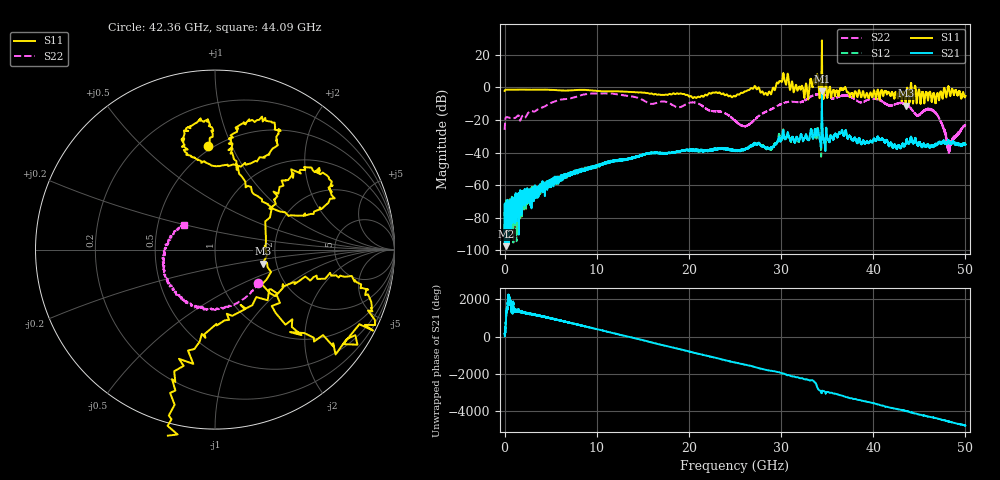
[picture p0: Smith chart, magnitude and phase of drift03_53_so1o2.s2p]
!Created with skrf (http://scikit-rf.org).
# Hz S RI R 50.0
!freq ReS11 ImS11 ReS21 ImS21 ReS12 ImS12 ReS22 ImS22
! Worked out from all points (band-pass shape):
!   10000 points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, 5.3 MHz to 50 GHz, reference 50 ohm
!   highest |S21| = -2.44 dB at 34.43 GHz (marker M1); lowest = -97.6 dB at 210.3 MHz (marker M2)
!   |S21| within 3 dB of the highest: 34.42765 GHz to 34.43443 GHz (6.781 MHz wide, 0.0197 % of centre)
!   lowest |S11| = -11.2 dB at 43.53 GHz (marker M3), VSWR 1.77, Z = 84.6 - j14.3 ohm
!   |S11| at or under -10 dB: 43.48669 GHz to 43.54141 GHz (54.72 MHz wide, 0.126 % of centre); 45.13762 GHz to 45.1412 GHz (3.578 MHz wide, 0.00793 % of centre)
!   |S22| runs from -40.3 to -3.6 dB; largest |S21 - S12| = 0.24
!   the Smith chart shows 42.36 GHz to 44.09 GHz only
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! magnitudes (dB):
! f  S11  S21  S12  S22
! 5.3 MHz  -2.1  -91.2  -76.7  -26.1
! 210.3 MHz  -1.4  -97.6  -71.9  -18.3
! 2.115 GHz  -1.3  -65.2  -65.1  -18.0
! 8.34 GHz  -1.5  -51.2  -51.0  -4.7
! 16.67 GHz  -4.4  -40.5  -40.4  -9.2
! 20.74 GHz  -6.3  -38.6  -38.7  -9.3
! 25.01 GHz  -5.5  -38.9  -39.1  -20.5
! 26.23 GHz  -2.2  -37.6  -37.4  -23.7
! 27.35 GHz  -1.0  -34.8  -35.0  -18.7
! 28.72 GHz  -2.5  -37.7  -37.5  -14.0
! 30.14 GHz  4.4  -29.4  -29.8  -9.9
! 32.74 GHz  2.0  -29.5  -29.2  -7.3
! 33.34 GHz  2.6  -27.4  -27.8  -5.2
! 33.82 GHz  4.0  -29.1  -29.5  -4.3
! 34.43 GHz  28.9  -2.4  -4.6  -4.0
! 36.48 GHz  -0.4  -28.1  -28.0  -5.3
! 41.67 GHz  -2.9  -35.4  -35.5  -10.9
! 43.53 GHz  -11.2  -34.0  -34.3  -10.2
! 44.77 GHz  -7.5  -34.9  -34.9  -17.4
! 46.68 GHz  -6.2  -36.1  -35.5  -15.0
! 48.22 GHz  -0.6  -33.9  -32.7  -37.3
! 50 GHz  -5.2  -35.0  -34.8  -23.3
